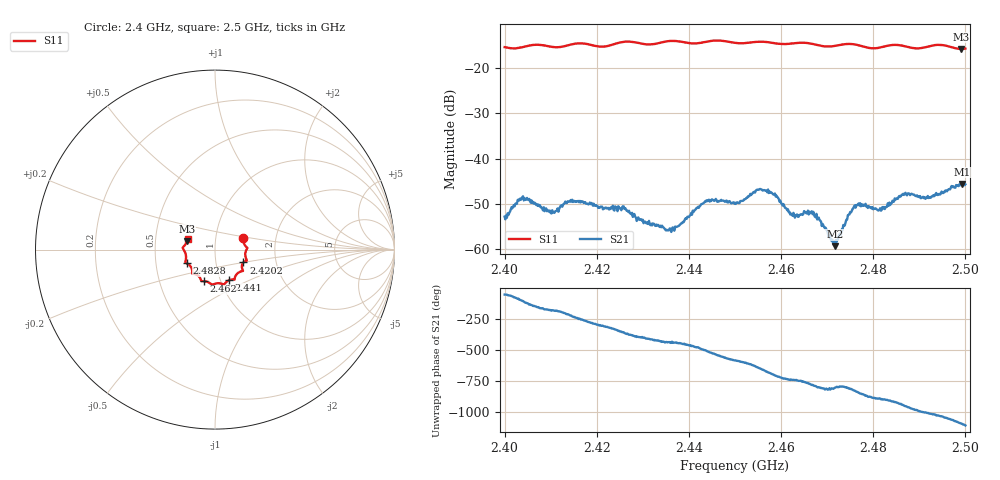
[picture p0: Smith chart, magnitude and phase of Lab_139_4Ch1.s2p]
# Hz S RI R 50
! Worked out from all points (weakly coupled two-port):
!   601 points, 2.4 GHz to 2.5 GHz, reference 50 ohm
!   highest |S21| = -45.60 dB at 2.4993 GHz (marker M1); lowest = -59.3 dB at 2.4717 GHz (marker M2)
!   lowest |S11| = -15.8 dB at 2.499 GHz (marker M3), VSWR 1.39, Z = 36.4 + j3.5 ohm
!   |S11| at or under -10 dB: start of sweep to end of sweep
!   S12 and S22 are empty: the file has one direction only
!   S11 on the Smith chart (normalised r, x): 2.4 GHz: 1.36, +0.18; 2.4202 GHz: 1.36, -0.20; 2.441 GHz: 1.10, -0.39; 2.462 GHz: 0.84, -0.30; 2.4828 GHz: 0.72, -0.11; 2.5 GHz: 0.73, +0.09
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2.4e9  0.1582 0.0626  0.00131 -0.00187  0 0  0 0
2.4035e9  0.1668 0.0241  -0.000565 -0.00345  0 0  0 0
2.4105e9  0.1705 -0.0114  -0.00254 3.29e-05  0 0  0 0
2.416667e9  0.1774 -0.0607  -0.000866 0.00328  0 0  0 0
2.420167e9  0.1584 -0.0714  0.00136 0.00267  0 0  0 0
2.426e9  0.156 -0.1173  0.00277 -0.000194  0 0  0 0
2.433333e9  0.1119 -0.1511  0.00084 -0.00165  0 0  0 0
2.436667e9  0.1084 -0.1676  0.000248 -0.00168  0 0  0 0
2.441e9  0.0786 -0.1698  -0.000923 -0.00241  0 0  0 0
2.444167e9  0.0552 -0.189  -0.00308 -0.00151  0 0  0 0
2.45e9  0.0283 -0.1877  -0.00232 0.00229  0 0  0 0
2.455833e9  -0.0153 -0.1951  0.002 0.00409  0 0  0 0
2.462e9  -0.0604 -0.1759  0.00224 -0.000911  0 0  0 0
2.466667e9  -0.0788 -0.1681  0.00121 -0.00233  0 0  0 0
2.471667e9  -0.1105 -0.1367  0.000115 -0.00107  0 0  0 0
2.476333e9  -0.1272 -0.1289  -0.00132 -0.00277  0 0  0 0
2.482833e9  -0.1575 -0.0768  -0.00294 0.00011  0 0  0 0
2.483333e9  -0.1605 -0.0754  -0.00299 0.000384  0 0  0 0
2.486667e9  -0.1637 -0.0626  -0.0027 0.00291  0 0  0 0
2.499e9  -0.1555 0.0468  0.0051 -0.00103  0 0  0 0
2.499333e9  -0.1541 0.0513  0.00505 -0.00143  0 0  0 0
2.5e9  -0.1522 0.0609  0.00461 -0.00241  0 0  0 0
